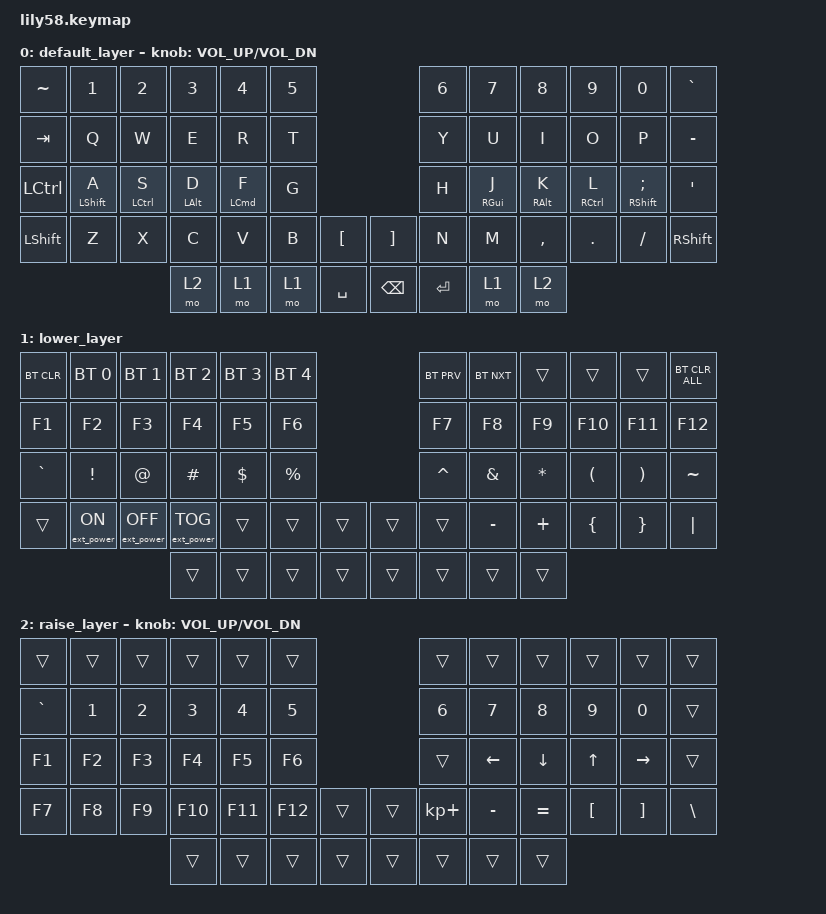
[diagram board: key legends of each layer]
/*
 * Copyright (c) 2020 The ZMK Contributors
 *
 * SPDX-License-Identifier: MIT
 */

#include <behaviors.dtsi>
#include <dt-bindings/zmk/bt.h>
#include <dt-bindings/zmk/ext_power.h>
#include <dt-bindings/zmk/keys.h>

/ {
    macros {
        shift: with_lshift {
            compatible = "zmk,behavior-macro-one-param";
            #binding-cells = <1>;
            bindings =
                <&macro_press>,
                <&kp LEFT_SHIFT>,
                <&macro_press>,
                <&macro_param_1to1 &kp MACRO_PLACEHOLDER>,
                <&macro_release>,
                <&kp LEFT_SHIFT>;

            label = "SHIFTKEY_PRESS_WITH_LEFT_SHIFT_MODIFIER";
        };
    };

    behaviors {
        as_ht: autoshift_hold_tap {
            compatible = "zmk,behavior-hold-tap";
            label = "AUTOSHIFT_HOLD_TAP";
            bindings = <&kp>, <&kp>;

            #binding-cells = <2>;
            tapping-term-ms = <190>;
        };

        hml: homewrow_mods_left {
            compatible = "zmk,behavior-hold-tap";
            label = "HOMEROW_MODS_LEFT_HAND";
            bindings = <&kp>, <&kp>;

            #binding-cells = <2>;
            tapping-term-ms = <200>;
            hold-trigger-key-positions = <6 7 8 9 10 11 18 19 20 21 22 23 30 31 32 33 34 35 43 44 45 46 47 48 49 54 55 56 57>;
        };

        hmr: homewrow_mods_right {
            compatible = "zmk,behavior-hold-tap";
            label = "HOMEROW_MODS_RIGHT_HAND";
            bindings = <&kp>, <&kp>;

            #binding-cells = <2>;
            tapping-term-ms = <200>;
            hold-trigger-key-positions = <25 0 12 13 14 15 16 17 24 25 26 27 28 29 36 37 38 39 40 41 42 50 51 52 53 1 2 4 5 13 14 15 16 17 3>;
        };
    };

    keymap {
        compatible = "zmk,keymap";

        default_layer {
            // ------------------------------------------------------------------------------------------------------------
            // |  ESC  |  1  |  2  |  3   |  4   |  5   |                   |  6   |  7    |  8    |  9   |   0   |   `   |
            // |  TAB  |  Q  |  W  |  E   |  R   |  T   |                   |  Y   |  U    |  I    |  O   |   P   |   -   |
            // |  CTRL |  A  |  S  |  D   |  F   |  G   |                   |  H   |  J    |  K    |  L   |   ;   |   '   |
            // | SHIFT |  Z  |  X  |  C   |  V   |  B   |   "["  |  |  "]"  |  N   |  M    |  ,    |  .   |   /   | SHIFT |
            //                     | ALT  | GUI  | LOWER|  SPACE |  | ENTER | RAISE| BSPC  | GUI   |

            bindings = <
&kp TILDE  &kp NUMBER_1  &kp NUMBER_2  &kp N3       &kp NUMBER_4  &kp NUMBER_5                              &kp N6     &kp N7            &kp N8       &kp N9        &kp NUMBER_0     &kp GRAVE
&kp TAB    &kp Q         &kp W         &kp E        &kp R         &kp T                                     &kp Y      &kp U             &kp I        &kp O         &kp P            &kp MINUS
&kp LCTRL  &hml LSHFT A  &hml LCTRL S  &hml LALT D  &hml LCMD F   &kp G                                     &kp H      &hmr RIGHT_GUI J  &hmr RALT K  &hmr RCTRL L  &hmr RSHFT SEMI  &kp SQT
&kp LSHFT  &kp Z         &kp X         &kp C        &kp V         &kp B         &kp LBKT     &kp RBKT       &kp N      &kp M             &kp COMMA    &kp DOT       &kp FSLH         &kp RSHFT
                                       &mo 2        &mo 1         &mo 1         &kp SPACE    &kp BACKSPACE  &kp ENTER  &mo 1             &mo 2
            >;

            sensor-bindings = <&inc_dec_kp C_VOL_UP C_VOL_DN>;
        };

        lower_layer {
            // ------------------------------------------------------------------------------------------------------------
            // | BTCLR | BT1 | BT2 |  BT3 |  BT4 |  BT5 |                   |      |       |       |      |       |       |
            // |  F1   |  F2 |  F3 |  F4  |  F5  |  F6  |                   |  F7  |  F8   |  F9   |  F10 |  F11  |  F12  |
            // |   `   |  !  |  @  |  #   |  $   |  %   |                   |  ^   |  &    |  *    |  (   |   )   |   ~   |
            // |       |     |     |      |      |      |        |  |       |      |  _    |  +    |  {   |   }   |  "|"  |
            //                     |      |      |      |        |  |       |      |       |       |

            bindings = <
&bt BT_CLR  &bt BT_SEL 0      &bt BT_SEL 1       &bt BT_SEL 2       &bt BT_SEL 3  &bt BT_SEL 4                    &bt BT_PRV  &bt BT_NXT  &trans     &trans    &trans    &bt BT_CLR_ALL
&kp F1      &kp F2            &kp F3             &kp F4             &kp F5        &kp F6                          &kp F7      &kp F8      &kp F9     &kp F10   &kp F11   &kp F12
&kp GRAVE   &kp EXCL          &kp AT             &kp HASH           &kp DOLLAR    &kp PRCNT                       &kp CARET   &kp AMPS    &kp ASTRK  &kp LPAR  &kp RPAR  &kp TILDE
&trans      &ext_power EP_ON  &ext_power EP_OFF  &ext_power EP_TOG  &trans        &trans        &trans    &trans  &trans      &kp MINUS   &kp PLUS   &kp LBRC  &kp RBRC  &kp PIPE
                                                 &trans             &trans        &trans        &trans    &trans  &trans      &trans      &trans
            >;
        };

        raise_layer {
            // ------------------------------------------------------------------------------------------------------------
            // |       |     |     |      |      |      |                   |      |       |       |      |       |       |
            // |   `   |  1  |  2  |  3   |  4   |  5   |                   |  6   |   7   |   8   |  9   |   0   |       |
            // |   F1  |  F2 |  F3 |  F4  |  F5  |  F6  |                   |      |   <-  |   v   |  ^   |  ->   |       |
            // |   F7  |  F8 |  F9 |  F10 |  F11 |  F12 |        |  |       |  +   |   -   |   =   |  [   |   ]   |   \   |
            //                     |      |      |      |        |  |       |      |       |       |

            bindings = <
&trans     &trans  &trans  &trans   &trans   &trans                     &trans       &trans     &trans     &trans    &trans     &trans
&kp GRAVE  &kp N1  &kp N2  &kp N3   &kp N4   &kp N5                     &kp N6       &kp N7     &kp N8     &kp N9    &kp N0     &trans
&kp F1     &kp F2  &kp F3  &kp F4   &kp F5   &kp F6                     &trans       &kp LEFT   &kp DOWN   &kp UP    &kp RIGHT  &trans
&kp F7     &kp F8  &kp F9  &kp F10  &kp F11  &kp F12  &trans    &trans  &kp KP_PLUS  &kp MINUS  &kp EQUAL  &kp LBKT  &kp RBKT   &kp BSLH
                           &trans   &trans   &trans   &trans    &trans  &trans       &trans     &trans
            >;

            sensor-bindings = <&inc_dec_kp C_VOL_UP C_VOL_DN>;
        };
    };
};
